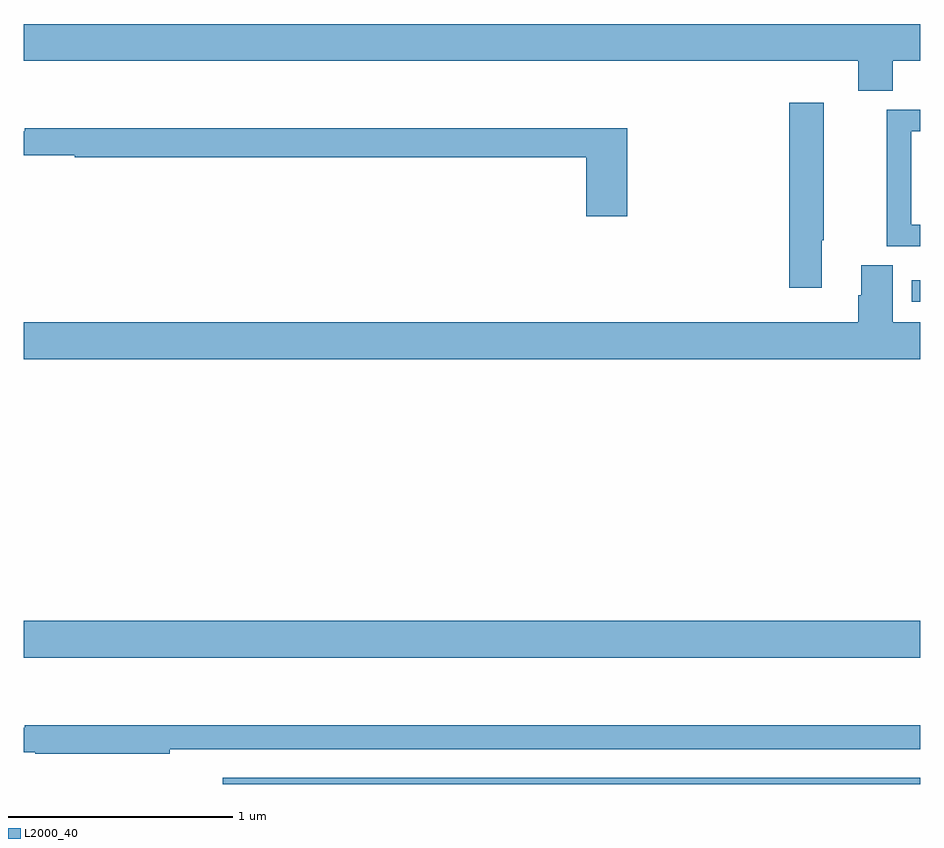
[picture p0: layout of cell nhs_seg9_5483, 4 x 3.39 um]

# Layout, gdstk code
import gdstk
lib = gdstk.Library(unit=1e-6, precision=1e-09)
def R(c, l, rs):  # rectangles x0, y0, x1, y1
    for r in rs: c.add(gdstk.rectangle(r[:2], r[2:], *l))
def P(c, l, *ps):  # polygons
    for p in ps: c.add(gdstk.Polygon(p, *l))
L2000_40 = (2000, 40)

nhs_seg9_5483 = lib.new_cell('nhs_seg9_5483')
R(nhs_seg9_5483, L2000_40, [(429.887,1218.5,433,1218.528), (429,1219.064,433,1219.228), (432.962,1220.652,433,1220.748)])
P(nhs_seg9_5483, L2000_40, [(432.877,1221.728),(433,1221.728),(433,1221.892),(429,1221.892),(429,1221.728),(432.725,1221.728),(432.725,1221.595),(432.877,1221.595)],
  [(432.562,1220.927),(432.57,1220.927),(432.57,1221.541),(432.416,1221.541),(432.416,1220.715),(432.562,1220.715)],
  [(433,1220.997),(432.96,1220.997),(432.96,1221.414),(433,1221.414),(433,1221.51),(432.852,1221.51),(432.852,1220.901),(433,1220.901)],
  [(431.693,1221.427),(429.004,1221.427),(429.004,1221.414),(429,1221.414),(429,1221.306),(429.226,1221.306),(429.226,1221.298),(431.51,1221.298),(431.51,1221.033),(431.693,1221.033)],
  [(433,1220.56),(432.877,1220.56),(432.877,1220.816),(432.737,1220.816),(432.737,1220.682),(432.725,1220.682),(432.725,1220.56),(429,1220.56),(429,1220.396),(433,1220.396)],
  [(429.65,1218.654),(433,1218.654),(433,1218.763),(429.004,1218.763),(429.004,1218.75),(429,1218.75),(429,1218.642),(429.05,1218.642),(429.05,1218.634),(429.65,1218.634)])

lib.write_gds('nhs_seg9_5483.gds')
